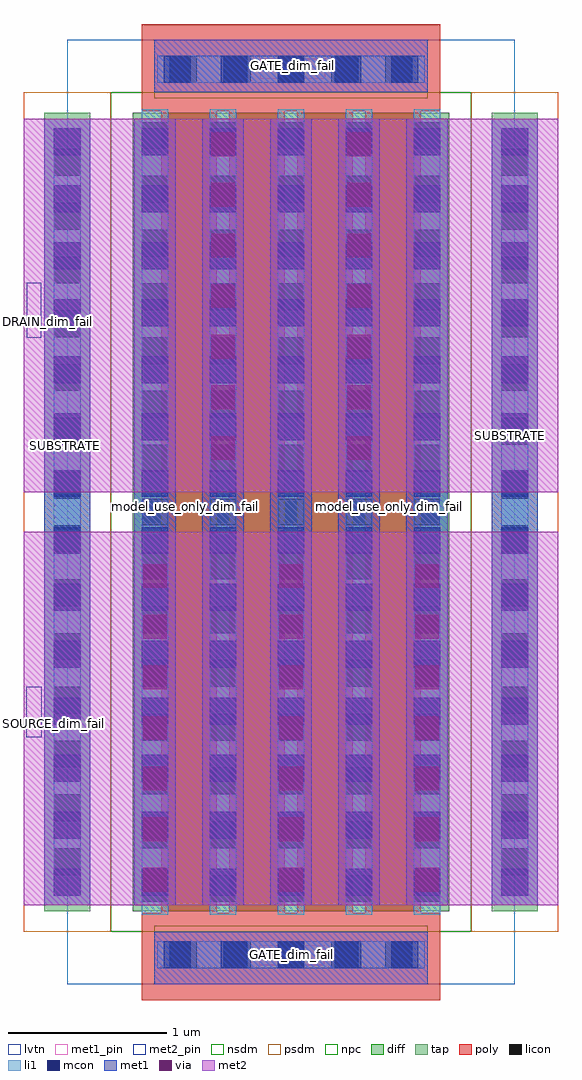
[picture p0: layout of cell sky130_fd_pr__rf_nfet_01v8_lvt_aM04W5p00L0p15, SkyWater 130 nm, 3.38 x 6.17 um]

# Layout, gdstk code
import gdstk
lib = gdstk.Library(unit=1e-6, precision=1e-09)
def R(c, l, rs):  # rectangles x0, y0, x1, y1
    for r in rs: c.add(gdstk.rectangle(r[:2], r[2:], *l))
def A(c, l, x, y, w, h, nx, ny, dx, dy):  # array of equal rectangles
    R(c, l, [(x+i*dx, y+j*dy, x+i*dx+w, y+j*dy+h) for i in range(nx) for j in range(ny)])
def P(c, l, *ps):  # polygons
    for p in ps: c.add(gdstk.Polygon(p, *l))
diff = (65, 20)
tap = (65, 44)
poly = (66, 20)
licon = (66, 44)
li1 = (67, 20)
mcon = (67, 44)
met1_pin = (68, 16)
met1 = (68, 20)
via = (68, 44)
met2_pin = (69, 16)
met2 = (69, 20)
nsdm = (93, 44)
psdm = (94, 20)
npc = (95, 20)
lvtn = (125, 44)

sky130_fd_pr__rf_nfet_01 = lib.new_cell('sky130_fd_pr__rf_nfet_01v8_lvt_aM04W5p00L0p15')
R(sky130_fd_pr__rf_nfet_01, diff, [(0.69,0.46,2.69,5.51)])
R(sky130_fd_pr__rf_nfet_01, tap, [(0.13,0.46,0.42,5.51), (2.96,0.46,3.25,5.51)])
P(sky130_fd_pr__rf_nfet_01, poly, [(0.745,-0.1),(0.745,0.45),(0.87,0.45),(0.87,5.52),(1.22,5.52),(1.22,0.45),(1.3,0.45),(1.3,5.52),(1.65,5.52),(1.65,0.45),(1.73,0.45),(1.73,5.52),(2.08,5.52),(2.08,0.45),(2.16,0.45),(2.16,5.52),(0.745,5.52),(0.745,6.07),(2.635,6.07),(2.635,5.52),(2.51,5.52),(2.51,0.45),(2.635,0.45),(2.635,-0.1)])
A(sky130_fd_pr__rf_nfet_01, licon, 0.925, 0.1, 0.17, 0.17, 5, 2, 0.34, 5.6)
A(sky130_fd_pr__rf_nfet_01, licon, 0.745, 0.52, 0.17, 0.17, 5, 15, 0.43, 0.34)
A(sky130_fd_pr__rf_nfet_01, licon, 0.19, 0.69, 0.17, 0.17, 1, 14, 0, 0.34)
A(sky130_fd_pr__rf_nfet_01, licon, 3.02, 0.69, 0.17, 0.17, 1, 14, 0, 0.34)
A(sky130_fd_pr__rf_nfet_01, li1, 0.745, 0.44, 0.17, 5.09, 5, 1, 0.43, 0)
A(sky130_fd_pr__rf_nfet_01, li1, 0.745, 1.64, 0.17, 2.69, 5, 1, 0.43, 0)
R(sky130_fd_pr__rf_nfet_01, li1, [(0.845,0.1,2.535,0.27), (0.885,0.1,2.495,0.27), (0.19,0.56,0.36,5.41), (3.02,0.56,3.19,5.41), (0.19,0.61,0.36,5.36), (3.02,0.61,3.19,5.36), (0.19,1.63,0.36,4.34), (3.02,1.63,3.19,4.34), (0.845,5.7,2.535,5.87), (0.885,5.7,2.495,5.87)])
A(sky130_fd_pr__rf_nfet_01, mcon, 0.885, 0.1, 0.17, 0.17, 5, 2, 0.36, 5.6)
A(sky130_fd_pr__rf_nfet_01, mcon, 0.19, 0.56, 0.17, 0.17, 1, 14, 0, 0.36)
A(sky130_fd_pr__rf_nfet_01, mcon, 0.745, 0.56, 0.17, 0.17, 5, 14, 0.43, 0.36)
A(sky130_fd_pr__rf_nfet_01, mcon, 3.02, 0.56, 0.17, 0.17, 1, 14, 0, 0.36)
R(sky130_fd_pr__rf_nfet_01, met1_pin, [(1.49,0.12,1.9,0.245), (0.19,2.945,0.36,3.025), (3.02,2.945,3.19,3.025), (1.495,5.725,1.905,5.85)])
A(sky130_fd_pr__rf_nfet_01, met1, 0.7, 0.5, 0.26, 2.24, 3, 1, 0.86, 0)
A(sky130_fd_pr__rf_nfet_01, met1, 0.7, 0.5, 0.26, 4.97, 5, 1, 0.43, 0)
R(sky130_fd_pr__rf_nfet_01, met1, [(0.825,0,2.555,0.33), (0.13,0.5,0.42,5.47), (2.96,0.5,3.25,5.47), (1.13,3.23,1.39,5.47), (1.99,3.23,2.25,5.47), (0.825,5.64,2.555,5.97)])
A(sky130_fd_pr__rf_nfet_01, via, 0.755, 0.585, 0.15, 0.15, 3, 7, 0.86, 0.32)
A(sky130_fd_pr__rf_nfet_01, via, 1.185, 3.315, 0.15, 0.15, 1, 7, 0, 0.32)
A(sky130_fd_pr__rf_nfet_01, via, 2.045, 3.315, 0.15, 0.15, 1, 7, 0, 0.32)
R(sky130_fd_pr__rf_nfet_01, met2_pin, [(0.015,1.56,0.115,1.88), (0.02,4.085,0.11,4.435)])
A(sky130_fd_pr__rf_nfet_01, met2, 0.7, 0.5, 0.26, 2.24, 3, 1, 0.86, 0)
R(sky130_fd_pr__rf_nfet_01, met2, [(0,0.5,3.38,2.86), (0,3.11,3.38,5.47), (1.13,3.23,1.39,5.47), (1.99,3.23,2.25,5.47)])
R(sky130_fd_pr__rf_nfet_01, nsdm, [(0.55,0.33,2.83,5.64)])
R(sky130_fd_pr__rf_nfet_01, psdm, [(0,0.33,0.55,5.64), (2.83,0.33,3.38,5.64)])
R(sky130_fd_pr__rf_nfet_01, npc, [(0.825,0,2.555,0.37), (0.825,5.6,2.555,5.97)])
R(sky130_fd_pr__rf_nfet_01, lvtn, [(0.275,0,3.105,5.97)])
sky130_fd_pr__rf_nfet_01.add(gdstk.Label('model_use_only_dim_fail', (1.02,3.02), layer=66, texttype=83))
sky130_fd_pr__rf_nfet_01.add(gdstk.Label('model_use_only_dim_fail', (1.45,3.02), layer=66, texttype=83))
sky130_fd_pr__rf_nfet_01.add(gdstk.Label('model_use_only_dim_fail', (1.88,3.02), layer=66, texttype=83))
sky130_fd_pr__rf_nfet_01.add(gdstk.Label('model_use_only_dim_fail', (2.31,3.02), layer=66, texttype=83))
sky130_fd_pr__rf_nfet_01.add(gdstk.Label('D_dim_fail', (1.26,2.985), layer=83, texttype=44))
sky130_fd_pr__rf_nfet_01.add(gdstk.Label('S_dim_fail', (0.83,2.985), layer=83, texttype=44))
sky130_fd_pr__rf_nfet_01.add(gdstk.Label('S_dim_fail', (2.12,2.985), layer=83, texttype=44))
sky130_fd_pr__rf_nfet_01.add(gdstk.Label('S_dim_fail', (1.69,2.985), layer=83, texttype=44))
sky130_fd_pr__rf_nfet_01.add(gdstk.Label('S_dim_fail', (1.26,2.985), layer=83, texttype=44))
sky130_fd_pr__rf_nfet_01.add(gdstk.Label('S_dim_fail', (0.83,2.985), layer=83, texttype=44))
sky130_fd_pr__rf_nfet_01.add(gdstk.Label('S_dim_fail', (2.55,2.985), layer=83, texttype=44))
sky130_fd_pr__rf_nfet_01.add(gdstk.Label('D_dim_fail', (2.12,2.985), layer=83, texttype=44))
sky130_fd_pr__rf_nfet_01.add(gdstk.Label('S_dim_fail', (1.69,2.985), layer=83, texttype=44))
sky130_fd_pr__rf_nfet_01.add(gdstk.Label('GATE_dim_fail', (1.7,5.805), layer=68, texttype=5))
sky130_fd_pr__rf_nfet_01.add(gdstk.Label('GATE_dim_fail', (1.695,0.19), layer=68, texttype=5))
sky130_fd_pr__rf_nfet_01.add(gdstk.Label('SUBSTRATE', (0.265,3.405), layer=68, texttype=5))
sky130_fd_pr__rf_nfet_01.add(gdstk.Label('SUBSTRATE', (3.075,3.47), layer=68, texttype=5))
sky130_fd_pr__rf_nfet_01.add(gdstk.Label('DRAIN_dim_fail', (0.09,4.19), layer=69, texttype=5))
sky130_fd_pr__rf_nfet_01.add(gdstk.Label('SOURCE_dim_fail', (0.08,1.645), layer=69, texttype=5))

lib.write_gds('sky130_fd_pr__rf_nfet_01v8_lvt_aM04W5p00L0p15.gds')
